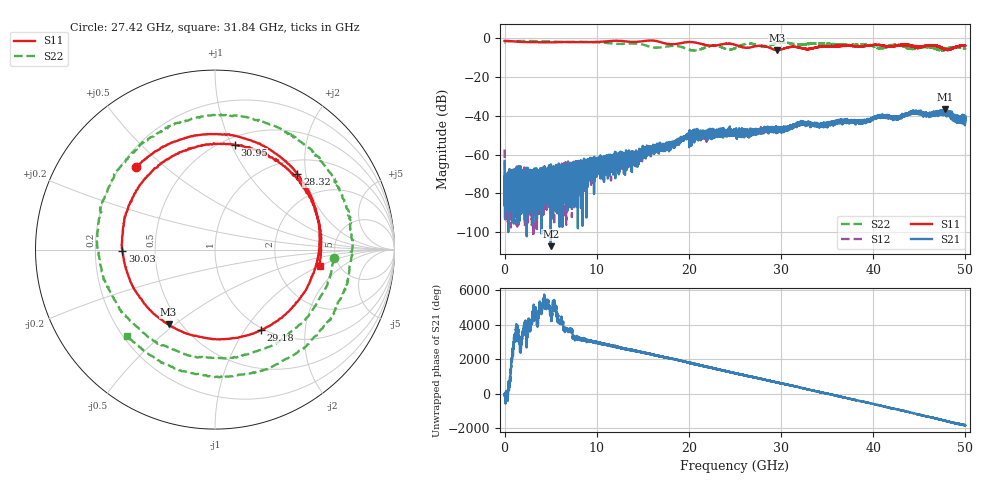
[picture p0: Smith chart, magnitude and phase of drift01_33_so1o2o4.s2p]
!Created with skrf (http://scikit-rf.org).
# Hz S RI R 50.0
!freq ReS11 ImS11 ReS21 ImS21 ReS12 ImS12 ReS22 ImS22
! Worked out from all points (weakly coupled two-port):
!   10001 points, 300 kHz to 50 GHz, reference 50 ohm
!   highest |S21| = -36.68 dB at 47.8 GHz (marker M1); lowest = -107.3 dB at 5.01 GHz (marker M2)
!   lowest |S11| = -6.2 dB at 29.61 GHz (marker M3), VSWR 2.92, Z = 21.6 - j23.7 ohm
!   |S11| at or under -10 dB: nowhere
!   |S22| runs from -6.5 to -1.4 dB; largest |S21 - S12| = 0.0047
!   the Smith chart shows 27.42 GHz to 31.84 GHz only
!   S11 on the Smith chart (normalised r, x): 27.42 GHz: 0.26, +0.40; 28.32 GHz: 1.31, +1.79; 29.18 GHz: 0.97, -1.19; 30.03 GHz: 0.32, -0.01; 30.95 GHz: 0.57, +1.03; 31.84 GHz: 3.56, -1.02
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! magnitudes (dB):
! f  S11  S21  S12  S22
! 300 kHz  -1.3  -63.3  -57.4  -2.1
! 285.3 MHz  -1.4  -82.0  -81.1  -1.4
! 5.01 GHz  -2.1  -107.3  -83.4  -1.6
! 5.5 GHz  -2.0  -73.0  -77.5  -1.7
! 8.335 GHz  -2.0  -65.9  -74.5  -1.8
! 16.67 GHz  -1.6  -57.0  -56.0  -4.8
! 18.62 GHz  -2.9  -53.0  -54.3  -3.9
! 20.29 GHz  -1.9  -54.7  -50.5  -6.2
! 22.6 GHz  -3.8  -48.8  -49.0  -3.8
! 25 GHz  -3.3  -47.6  -49.1  -5.1
! 27.42 GHz  -3.9  -48.0  -48.2  -3.5
! 28.32 GHz  -4.1  -47.1  -48.0  -4.3
! 29.18 GHz  -5.7  -47.3  -47.3  -3.1
! 29.61 GHz  -6.2  -46.8  -46.7  -2.5
! 30.03 GHz  -5.7  -46.8  -46.5  -2.4
! 30.95 GHz  -4.5  -46.7  -45.6  -2.5
! 31.84 GHz  -4.6  -44.1  -44.2  -3.3
! 33.34 GHz  -5.2  -43.9  -44.0  -2.7
! 41.67 GHz  -4.3  -40.7  -40.9  -4.3
! 46.49 GHz  -3.5  -38.7  -38.8  -4.9
! 47.8 GHz  -5.9  -36.7  -38.2  -5.8
! 50 GHz  -3.9  -40.4  -41.6  -5.3
